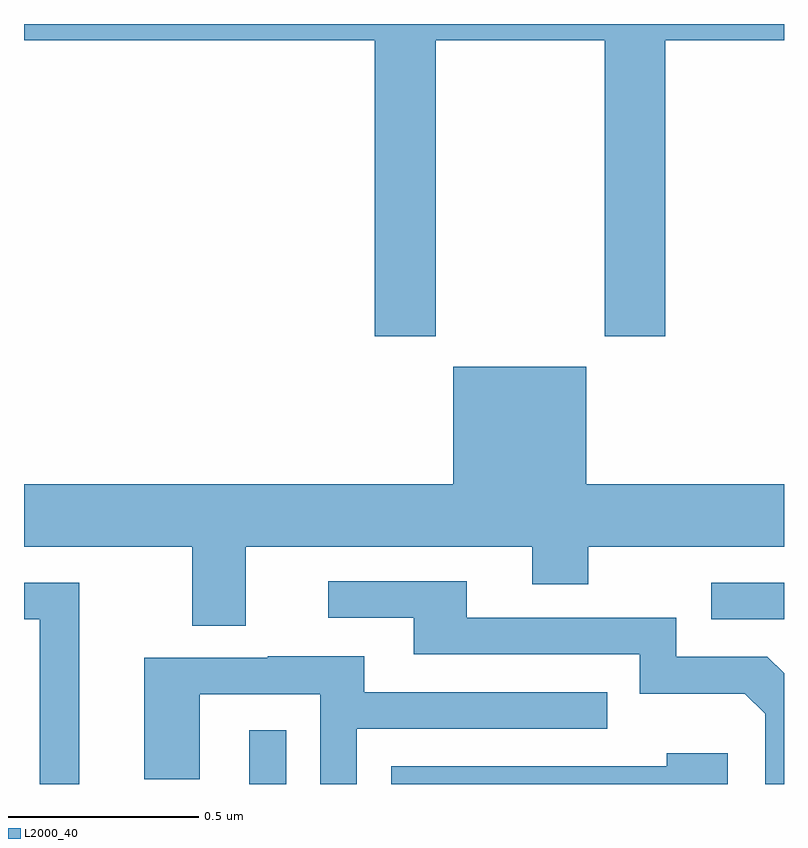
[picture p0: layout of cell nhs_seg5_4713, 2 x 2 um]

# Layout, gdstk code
import gdstk
lib = gdstk.Library(unit=1e-6, precision=1e-09)
def R(c, l, rs):  # rectangles x0, y0, x1, y1
    for r in rs: c.add(gdstk.rectangle(r[:2], r[2:], *l))
def P(c, l, *ps):  # polygons
    for p in ps: c.add(gdstk.Polygon(p, *l))
L2000_40 = (2000, 40)

nhs_seg5_4713 = lib.new_cell('nhs_seg5_4713')
R(nhs_seg5_4713, L2000_40, [(174.593,858.799,174.69,858.94), (175.809,859.233,176,859.329)])
P(nhs_seg5_4713, L2000_40, [(175.083,860.756),(175.528,860.756),(175.528,859.977),(175.688,859.977),(175.688,860.756),(176,860.756),(176,860.799),(174,860.799),(174,860.756),(174.923,860.756),(174.923,859.977),(175.083,859.977)],
  [(174.583,859.424),(175.337,859.424),(175.337,859.325),(175.485,859.325),(175.485,859.424),(176,859.424),(176,859.588),(175.48,859.588),(175.48,859.897),(175.13,859.897),(175.13,859.588),(174,859.588),(174,859.424),(174.443,859.424),(174.443,859.216),(174.583,859.216)],
  [(176,859.09),(175.956,859.134),(175.716,859.134),(175.716,859.236),(175.165,859.236),(175.165,859.332),(174.801,859.332),(174.801,859.236),(175.025,859.236),(175.025,859.14),(175.62,859.14),(175.62,859.037),(175.897,859.037),(175.95,858.984),(175.95,858.799),(176,858.799)],
  [(174.145,859.329),(174,859.329),(174,859.233),(174.041,859.233),(174.041,858.799),(174.145,858.799)],
  [(174.876,858.945),(175.535,858.945),(175.535,859.041),(174.895,859.041),(174.895,859.135),(174.641,859.135),(174.641,859.131),(174.317,859.131),(174.317,858.811),(174.462,858.811),(174.462,859.035),(174.78,859.035),(174.78,858.799),(174.876,858.799)],
  [(175.852,858.88),(175.691,858.88),(175.691,858.846),(174.966,858.846),(174.966,858.799),(175.852,858.799)])

lib.write_gds('nhs_seg5_4713.gds')
